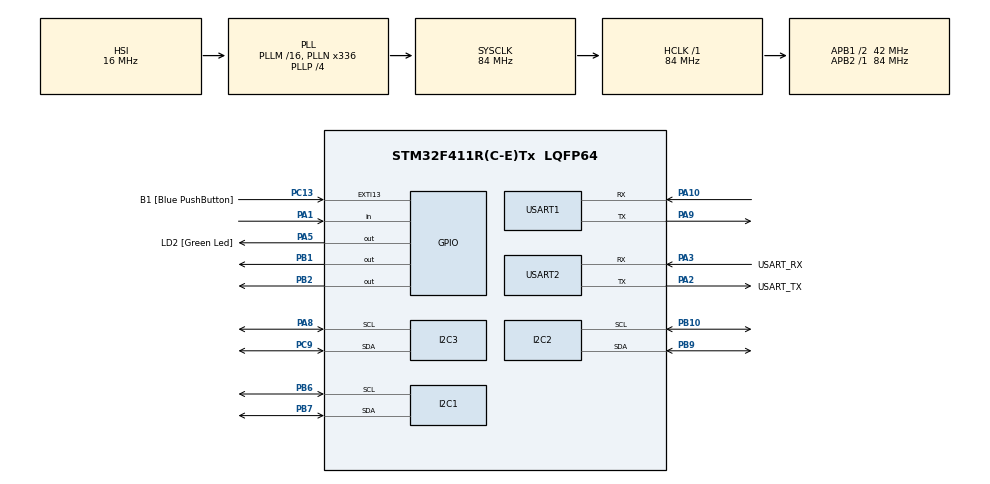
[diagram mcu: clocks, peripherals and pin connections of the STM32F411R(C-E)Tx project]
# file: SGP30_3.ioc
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Mcu.Family=STM32F4
Mcu.Name=STM32F411R(C-E)Tx
Mcu.Package=LQFP64
NVIC.PriorityGroup=NVIC_PRIORITYGROUP_0
PA1.Signal=GPIO_Input
PA10.Mode=Asynchronous
PA10.Signal=USART1_RX
PA13.GPIO_Label=TMS
PA13.Mode=Serial_Wire
PA13.Signal=SYS_JTMS-SWDIO
PA14.GPIO_Label=TCK
PA14.Mode=Serial_Wire
PA14.Signal=SYS_JTCK-SWCLK
PA2.GPIO_Label=USART_TX
PA2.Mode=Asynchronous
PA2.Signal=USART2_TX
PA3.GPIO_Label=USART_RX
PA3.Mode=Asynchronous
PA3.Signal=USART2_RX
PA5.GPIO_Label=LD2 [Green Led]
PA5.Signal=GPIO_Output
PA8.Mode=I2C
PA8.Signal=I2C3_SCL
PA9.Mode=Asynchronous
PA9.Signal=USART1_TX
PB1.Signal=GPIO_Output
PB10.Mode=I2C
PB10.Signal=I2C2_SCL
PB2.Signal=GPIO_Output
PB6.Mode=I2C
PB6.Signal=I2C1_SCL
PB7.Mode=I2C
PB7.Signal=I2C1_SDA
PB9.Mode=I2C
PB9.Signal=I2C2_SDA
PC13-ANTI_TAMP.GPIO_Label=B1 [Blue PushButton]
PC13-ANTI_TAMP.GPIO_ModeDefaultEXTI=GPIO_MODE_IT_FALLING
PC13-ANTI_TAMP.Signal=GPXTI13
PC14-OSC32_IN.Mode=LSE-External-Oscillator
PC14-OSC32_IN.Signal=RCC_OSC32_IN
PC15-OSC32_OUT.Mode=LSE-External-Oscillator
PC15-OSC32_OUT.Signal=RCC_OSC32_OUT
PC9.Mode=I2C
PC9.Signal=I2C3_SDA
PH0\ -\ OSC_IN.Mode=HSE-External-Clock-Source
PH0\ -\ OSC_IN.Signal=RCC_OSC_IN
PH1\ -\ OSC_OUT.Mode=HSE-External-Clock-Source
PH1\ -\ OSC_OUT.Signal=RCC_OSC_OUT
ProjectManager.HeapSize=0x200
ProjectManager.StackSize=0x400
ProjectManager.TargetToolchain=STM32CubeIDE
RCC.48MHZClocksFreq_Value=84000000
RCC.AHBFreq_Value=84000000
RCC.APB1CLKDivider=RCC_HCLK_DIV2
RCC.APB1Freq_Value=42000000
RCC.APB1TimFreq_Value=84000000
RCC.APB2Freq_Value=84000000
RCC.APB2TimFreq_Value=84000000
RCC.CortexFreq_Value=84000000
RCC.FLatency-AdvancedSettings=FLASH_LATENCY_2
RCC.HCLKFreq_Value=84000000
RCC.HSE_VALUE=8000000
RCC.HSI_VALUE=16000000
RCC.PLLN=336
RCC.PLLP=RCC_PLLP_DIV4
RCC.SYSCLKFreq_VALUE=84000000
RCC.SYSCLKSource=RCC_SYSCLKSOURCE_PLLCLK
RCC.VCOOutputFreq_Value=336000000
TIM1.Prescaler=83
USART1.VirtualMode=VM_ASYNC
USART2.VirtualMode=VM_ASYNC
VP_TIM1_VS_ClockSourceINT.Mode=Internal
board=NUCLEO-F411RE

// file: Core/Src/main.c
/* USER CODE BEGIN Header */
/**
  ******************************************************************************
  * @file           : main.c
  * @brief          : SGP30 x3 (3개의 독립 I2C 비트뱅) 테스트
  ******************************************************************************
  * @attention
  *
  * Copyright (c) 2026 STMicroelectronics.
  * All rights reserved.
  *
  * This software is licensed under terms that can be found in the LICENSE file
  * in the root directory of this software component.
  * If no LICENSE file comes with this software, it is provided AS-IS.
  *
  ******************************************************************************  *
  * - SGP30는 I2C 주소가 모두 0x58로 동일
  *  - 한 버스에 여러개 불가 → GPIO I2C 라인을 3세트로 분리해서 각 1개씩 연결
  *
  *  UART2로 출력(PC Serial)
  *
  * 핀맵(사용자 지정)
  *  SGP30 #1 : SCL=PB6,  SDA=PB7
  *  SGP30 #2 : SCL=PB10, SDA=PB8
  *  SGP30 #3 : SCL=PA8,  SDA=PC9
  *
  * CubeMX 주의:
  *  - PB3는 SWO랑 충돌 가능 → SYS->Debug는 Serial Wire만(Trace 끄기)
  ******************************************************************************  ******************************************************************************
  */
/* USER CODE END Header */
#include "main.h"

/* USER CODE BEGIN Includes */
#include "stm32f4xx_hal.h"
#include <stdio.h>
#include <string.h>
#include "sensirion_common.h"
#include "sgp30.h"

/* USER CODE END Includes */

/* USER CODE BEGIN PTD */
typedef struct {
  GPIO_TypeDef* scl_port;
  uint16_t      scl_pin;
  GPIO_TypeDef* sda_port;
  uint16_t      sda_pin;
} SoftI2C;

/* ===== 팬이 켜진 이유 표시용 ===== */
typedef enum {
  FAN_REASON_NONE = 0,
  FAN_REASON_TEMP,
  FAN_REASON_HUM,
  FAN_REASON_FAILSAFE
} FanReason;

/* USER CODE END PTD */

/* USER CODE BEGIN PD */
#ifndef STATUS_OK
#define STATUS_OK 0
#endif

#ifndef STATUS_FAIL
#define STATUS_FAIL (-1)
#endif

/* SGP30 7-bit 주소 */
#define SGP30_ADDR_7BIT  (0x58)

/* I2C 속도(대략) 조절 */
#define I2C_DELAY_US     (5)   // 5us 정도면 대략 100kHz 근처(환경에 따라 다름)
/* USER CODE BEGIN PD */
// [SGP30 주기]
#define SGP_INTERVAL 5000 // 1초

// [DHT11 / Fan 핀 설정 (사용자 코드 그대로)]
#define DHT_PORT        GPIOA
#define DHT_PIN         GPIO_PIN_1

// L9110 B채널 입력핀: B-IA=PB1, B-IB=PB2
#define L9110_BIA_PORT  GPIOB
#define L9110_BIA_PIN   GPIO_PIN_1
#define L9110_BIB_PORT  GPIOB
#define L9110_BIB_PIN   GPIO_PIN_2

/* =========================
 * 임계치(히스테리시스)
 * ========================= */
#define T_ON            30.0f
#define T_OFF           26.0f
#define H_ON            30.0f
#define H_OFF           25.0f

/* =========================
 * 주기 설정
 * ========================= */
#define DHT_INTERVAL_MS 5000    // DHT11 읽기 주기(5초)
/* USER CODE END PD */

I2C_HandleTypeDef hi2c1;
I2C_HandleTypeDef hi2c2;
I2C_HandleTypeDef hi2c3;

TIM_HandleTypeDef htim1;

UART_HandleTypeDef huart1;
UART_HandleTypeDef huart2;

/* USER CODE BEGIN PV */

/* 3개의 버스 */
//static SoftI2C g_i2c1; // PB6/PB7
//static SoftI2C g_i2c2; // PB10/PB3
//static SoftI2C g_i2c3; // PA8/PC9
/* [Fan/DHT 변수 (사용자 코드 그대로)] */
static uint8_t  g_fan_on = 0;
static uint32_t g_last_dht_ms = 0;

static FanReason g_fan_reason = FAN_REASON_NONE;
static uint32_t g_dht_fail_cnt = 0;

/* [SGP30 변수] */
static uint32_t last_sgp_time = 0;
/* USER CODE END PV */

void SystemClock_Config(void);
static void MX_GPIO_Init(void);
static void MX_USART2_UART_Init(void);
static void MX_I2C1_Init(void);
static void MX_USART1_UART_Init(void);
static void MX_I2C3_Init(void);
static void MX_I2C2_Init(void);
static void MX_TIM1_Init(void);
/* USER CODE BEGIN PFP */
extern void i2c_select_bus(uint8_t bus_id);
static void esp_send_line(const char *s);
extern int8_t sensirion_i2c_init(void);

// [DHT/Fan 함수]
static void delay_us(uint16_t us);
static void DHT_Pin_Output(void); // (Note: implemented as set_pin_output locally)
static void DHT_Pin_Input(void);  // (Note: implemented as set_pin_input locally)
static uint8_t DHT11_Read(float *t, float *h); // (Note: implemented as DHT_Read)
static void Fan_Stop(void);
static void Fan_On_ForwardOnly(void);
static void FanControl_Update(float t, float h, uint8_t ok);
static void FanControl_Task(void);
static const char* FanReasonToStr(FanReason r);

/* USER CODE END PFP */

/* USER CODE BEGIN 0 */
// [SGP용 ESP 전송 헬퍼]
static void send_sgp_to_esp(int zone, uint16_t tvoc, uint16_t eco2) {
    char payload[128];
    // Board #2: Zone 1, 2, 3
    sprintf(payload, "{\"type\":\"sgp\",\"zone\":\"zone_%d\",\"tvoc\":%u,\"eco2\":%u}\n",
            zone, tvoc, eco2);
    HAL_UART_Transmit(&huart1, (uint8_t *)payload, strlen(payload), 100);
}

// -------------------- DHT/Fan 구현 (변수명/로직 유지) --------------------
static void delay_us(uint16_t us)
{
	__HAL_TIM_SET_COUNTER(&htim1, 0);            // 타이머1 카운터 0으로 초기화
	while (__HAL_TIM_GET_COUNTER(&htim1) < us);  // us 만큼 대기
}

void set_pin_output(void)
{
    GPIO_InitTypeDef GPIO_InitStruct = {0};
    GPIO_InitStruct.Pin = DHT_PIN;                // DHT 핀
    GPIO_InitStruct.Mode = GPIO_MODE_OUTPUT_OD;   // ✅ 오픈드레인 (안정적)
    GPIO_InitStruct.Speed = GPIO_SPEED_FREQ_LOW;
    GPIO_InitStruct.Pull = GPIO_NOPULL;
    HAL_GPIO_Init(DHT_PORT, &GPIO_InitStruct);
}

void set_pin_input(void)
{
    GPIO_InitTypeDef GPIO_InitStruct = {0};
    GPIO_InitStruct.Pin = DHT_PIN;
    GPIO_InitStruct.Mode = GPIO_MODE_INPUT;
    GPIO_InitStruct.Pull = GPIO_NOPULL;           // 모듈이면 보통 외부 풀업 있음
    HAL_GPIO_Init(DHT_PORT, &GPIO_InitStruct);
}

uint8_t DHT_Read(uint8_t *temp, uint8_t *hum)
{
    uint8_t bits[5] = {0};
    uint32_t time;

    // MCU -> 센서 Start 신호
    set_pin_output();
    HAL_GPIO_WritePin(DHT_PORT, DHT_PIN, GPIO_PIN_RESET);
    HAL_Delay(20);  // 18~20ms
    HAL_GPIO_WritePin(DHT_PORT, DHT_PIN, GPIO_PIN_SET);
    delay_us(40);   // 20~40us
    set_pin_input();

    // 센서 응답 대기
    time = 0;
    while (HAL_GPIO_ReadPin(DHT_PORT, DHT_PIN) == GPIO_PIN_SET) {
        if (++time > 200) return 1;
        delay_us(1);
    }

    // LOW(80us)
    time = 0;
    while (HAL_GPIO_ReadPin(DHT_PORT, DHT_PIN) == GPIO_PIN_RESET) {
        if (++time > 200) return 2;
        delay_us(1);
    }

    // HIGH(80us)
    time = 0;
    while (HAL_GPIO_ReadPin(DHT_PORT, DHT_PIN) == GPIO_PIN_SET) {
        if (++time > 200) return 3;
        delay_us(1);
    }

    // 40bit 수신
    for (int i = 0; i < 40; i++) {
        // LOW 시작(50us) 끝날 때까지 대기
        while (HAL_GPIO_ReadPin(DHT_PORT, DHT_PIN) == GPIO_PIN_RESET);

        // HIGH 중간에서 샘플링
        delay_us(40);
        if (HAL_GPIO_ReadPin(DHT_PORT, DHT_PIN)) {
            bits[i / 8] |= (1 << (7 - (i % 8)));
        }

        // HIGH 끝날 때까지 대기
        while (HAL_GPIO_ReadPin(DHT_PORT, DHT_PIN) == GPIO_PIN_SET);
    }

    // checksum
    uint8_t sum = bits[0] + bits[1] + bits[2] + bits[3];
    if (sum != bits[4]) return 4;

    *hum  = bits[0];
    *temp = bits[2];
    return 0;
}

static void Fan_On_ForwardOnly(void)
{
  HAL_GPIO_WritePin(L9110_BIA_PORT, L9110_BIA_PIN, GPIO_PIN_SET);
  HAL_GPIO_WritePin(L9110_BIB_PORT, L9110_BIB_PIN, GPIO_PIN_RESET);
  g_fan_on = 1;
}

static void Fan_Stop(void)
{
  HAL_GPIO_WritePin(L9110_BIA_PORT, L9110_BIA_PIN, GPIO_PIN_RESET);
  HAL_GPIO_WritePin(L9110_BIB_PORT, L9110_BIB_PIN, GPIO_PIN_RESET);
  g_fan_on = 0;
  g_fan_reason = FAN_REASON_NONE;
}

static void FanControl_Update(float t, float h, uint8_t ok)
{
  if (!ok) {
	if (g_dht_fail_cnt < 255) g_dht_fail_cnt++;

	if (g_dht_fail_cnt >= 3) {
	  if (!g_fan_on) {
		Fan_On_ForwardOnly();
		g_fan_reason = FAN_REASON_FAILSAFE;
	  }
	}
	return; // 실패 시 여기서 끝
  }
  g_dht_fail_cnt = 0; // 성공하면 fail count 리셋

  if (!g_fan_on)
  {
	/* OFF -> ON 조건 */
	if (t >= T_ON) {
	  Fan_On_ForwardOnly();
	  g_fan_reason = FAN_REASON_TEMP;
	}
	else if (h >= H_ON) {
	  Fan_On_ForwardOnly();
	  g_fan_reason = FAN_REASON_HUM;
	}
  }
  else
  {
	/* ON -> OFF 조건 */
	if (t <= T_OFF && h <= H_OFF) {
	  Fan_Stop();
	}
	else {
	  if (g_fan_reason != FAN_REASON_FAILSAFE) {
		if (t >= T_ON)      g_fan_reason = FAN_REASON_TEMP;
		else if (h >= H_ON) g_fan_reason = FAN_REASON_HUM;
	  }
	}
  }
}

static const char* FanReasonToStr(FanReason r)
{
  switch (r) {
    case FAN_REASON_TEMP:     return "TEMP";
    case FAN_REASON_HUM:      return "HUM";
    case FAN_REASON_FAILSAFE: return "FAIL";
    default:                  return "NONE";
  }
}

static void FanControl_Task(void)
{
  uint32_t now = HAL_GetTick();
  if (now - g_last_dht_ms < DHT_INTERVAL_MS) return;
  g_last_dht_ms = now;

  uint8_t temperature = 0, humidity = 0;
  uint8_t status = DHT_Read(&temperature, &humidity);
  uint8_t ok = (status == 0) ? 1 : 0;

  float t = (float)temperature;
  float h = (float)humidity;

  // 임계치 자동 제어
  FanControl_Update(t, h, ok);

  if (ok) {
	printf("[DHT] t=%.1fC h=%.1f%% fan=%s reason=%s\r\n", t, h, (g_fan_on ? "ON" : "OFF"),FanReasonToStr(g_fan_reason));

    // [ESP 전송 (DHT)]
    char json[128];
    const char* reason_str = FanReasonToStr(g_fan_reason);
    const char* fan_str = g_fan_on ? "ON" : "OFF";

    int n = snprintf(json, sizeof(json), "{\"t\":%.0f,\"h\":%.0f,\"fan\":\"%s\",\"reason\":\"%s\"}\n", t, h, fan_str, reason_str);
    HAL_UART_Transmit(&huart1, (uint8_t*)json, n, HAL_MAX_DELAY);
  } else {
	printf("[DHT] read fail cnt=%d fan=%s reason=%s\r\n",g_dht_fail_cnt,(g_fan_on ? "ON" : "OFF"),FanReasonToStr(g_fan_reason));
  }
}
/* USER CODE END 0 */

int main(void)
{

  /* MCU Configuration--------------------------------------------------------*/

  /* Reset of all peripherals, Initializes the Flash interface and the Systick. */
  HAL_Init();

  /* Configure the system clock */
  SystemClock_Config();

  /* Initialize all configured peripherals */
  MX_GPIO_Init();
  MX_USART2_UART_Init();
  MX_I2C1_Init();
  MX_USART1_UART_Init();
  MX_I2C3_Init();
  MX_I2C2_Init();
  MX_TIM1_Init();
  /* USER CODE BEGIN 2 */

  HAL_TIM_Base_Start(&htim1);
  printf("\r\n=== Board #1 Start (DHT/Fan + SGP30) ===\r\n");

  Fan_Stop();
  HAL_Delay(500);
  /* 1. I2C 초기화 (GPIO 클럭 등) */
  sensirion_i2c_init();

  /* 2. 센서 3대 초기화 (Probe & IAQ Init) */
  for(uint8_t i=1; i<=3; i++) {
    printf("Initializing SGP30 #%d ... ", i);

      // 버스 변경 (핵심!)
      i2c_select_bus(i);
      HAL_Delay(100); // 스위칭 안정화

      if (sgp_probe() == STATUS_OK) {
          // 초기화 명령
          if (sgp_iaq_init() == STATUS_OK) {
              printf("OK!\r\n");
          } else {
              printf("Init Fail\r\n");
          }
      } else {
        printf("Not Found (Check Wiring)\r\n");
      }
      HAL_Delay(500);   }

  last_sgp_time = HAL_GetTick();
  /* USER CODE END 2 */

  /* Infinite loop */
  /* USER CODE BEGIN WHILE */
  while (1)
  {
	  /* USER CODE BEGIN 3 */

	  // ==========================================
	  // TASK 1: DHT11 & Fan Control (5초 주기)
	  // ==========================================
	  // (내부 타이머 로직 사용)
	  FanControl_Task();

	  // ==========================================
	  // TASK 2: SGP30 가스 센서 (1초 주기)
	  // ==========================================
	  if (HAL_GetTick() - last_sgp_time >= SGP_INTERVAL) {
		  last_sgp_time = HAL_GetTick();

		  u16 tvoc, eco2;
		  s16 err;

		  // 센서 1,2,3 순차 측정 (Zone 1, 2, 3)
		  for(uint8_t i=1; i<=3; i++) {
			  i2c_select_bus(i);
			  err = sgp_measure_iaq_blocking_read(&tvoc, &eco2);

			  if (err == STATUS_OK) {
				  printf("[SGP #%d] TVOC: %d, eCO2: %d\r\n", i, tvoc, eco2);
				  send_sgp_to_esp(i, tvoc, eco2);
			  }
			  HAL_Delay(20);
		  }
	  }
	  HAL_Delay(10);

    /* USER CODE END WHILE */

  }
}

void SystemClock_Config(void)
{
  RCC_OscInitTypeDef RCC_OscInitStruct = {0};
  RCC_ClkInitTypeDef RCC_ClkInitStruct = {0};

  /** Configure the main internal regulator output voltage
  */
  __HAL_RCC_PWR_CLK_ENABLE();
  __HAL_PWR_VOLTAGESCALING_CONFIG(PWR_REGULATOR_VOLTAGE_SCALE1);

  /** Initializes the RCC Oscillators according to the specified parameters
  * in the RCC_OscInitTypeDef structure.
  */
  RCC_OscInitStruct.OscillatorType = RCC_OSCILLATORTYPE_HSI;
  RCC_OscInitStruct.HSIState = RCC_HSI_ON;
  RCC_OscInitStruct.HSICalibrationValue = RCC_HSICALIBRATION_DEFAULT;
  RCC_OscInitStruct.PLL.PLLState = RCC_PLL_ON;
  RCC_OscInitStruct.PLL.PLLSource = RCC_PLLSOURCE_HSI;
  RCC_OscInitStruct.PLL.PLLM = 16;
  RCC_OscInitStruct.PLL.PLLN = 336;
  RCC_OscInitStruct.PLL.PLLP = RCC_PLLP_DIV4;
  RCC_OscInitStruct.PLL.PLLQ = 4;
  if (HAL_RCC_OscConfig(&RCC_OscInitStruct) != HAL_OK)
  {
    Error_Handler();
  }

  /** Initializes the CPU, AHB and APB buses clocks
  */
  RCC_ClkInitStruct.ClockType = RCC_CLOCKTYPE_HCLK|RCC_CLOCKTYPE_SYSCLK
                              |RCC_CLOCKTYPE_PCLK1|RCC_CLOCKTYPE_PCLK2;
  RCC_ClkInitStruct.SYSCLKSource = RCC_SYSCLKSOURCE_PLLCLK;
  RCC_ClkInitStruct.AHBCLKDivider = RCC_SYSCLK_DIV1;
  RCC_ClkInitStruct.APB1CLKDivider = RCC_HCLK_DIV2;
  RCC_ClkInitStruct.APB2CLKDivider = RCC_HCLK_DIV1;

  if (HAL_RCC_ClockConfig(&RCC_ClkInitStruct, FLASH_LATENCY_2) != HAL_OK)
  {
    Error_Handler();
  }
}

static void MX_I2C1_Init(void)
{

  hi2c1.Instance = I2C1;
  hi2c1.Init.ClockSpeed = 100000;
  hi2c1.Init.DutyCycle = I2C_DUTYCYCLE_2;
  hi2c1.Init.OwnAddress1 = 0;
  hi2c1.Init.AddressingMode = I2C_ADDRESSINGMODE_7BIT;
  hi2c1.Init.DualAddressMode = I2C_DUALADDRESS_DISABLE;
  hi2c1.Init.OwnAddress2 = 0;
  hi2c1.Init.GeneralCallMode = I2C_GENERALCALL_DISABLE;
  hi2c1.Init.NoStretchMode = I2C_NOSTRETCH_DISABLE;
  if (HAL_I2C_Init(&hi2c1) != HAL_OK)
  {
    Error_Handler();
  }

}

static void MX_I2C2_Init(void)
{

  hi2c2.Instance = I2C2;
  hi2c2.Init.ClockSpeed = 100000;
  hi2c2.Init.DutyCycle = I2C_DUTYCYCLE_2;
  hi2c2.Init.OwnAddress1 = 0;
  hi2c2.Init.AddressingMode = I2C_ADDRESSINGMODE_7BIT;
  hi2c2.Init.DualAddressMode = I2C_DUALADDRESS_DISABLE;
  hi2c2.Init.OwnAddress2 = 0;
  hi2c2.Init.GeneralCallMode = I2C_GENERALCALL_DISABLE;
  hi2c2.Init.NoStretchMode = I2C_NOSTRETCH_DISABLE;
  if (HAL_I2C_Init(&hi2c2) != HAL_OK)
  {
    Error_Handler();
  }

}

static void MX_I2C3_Init(void)
{

  hi2c3.Instance = I2C3;
  hi2c3.Init.ClockSpeed = 100000;
  hi2c3.Init.DutyCycle = I2C_DUTYCYCLE_2;
  hi2c3.Init.OwnAddress1 = 0;
  hi2c3.Init.AddressingMode = I2C_ADDRESSINGMODE_7BIT;
  hi2c3.Init.DualAddressMode = I2C_DUALADDRESS_DISABLE;
  hi2c3.Init.OwnAddress2 = 0;
  hi2c3.Init.GeneralCallMode = I2C_GENERALCALL_DISABLE;
  hi2c3.Init.NoStretchMode = I2C_NOSTRETCH_DISABLE;
  if (HAL_I2C_Init(&hi2c3) != HAL_OK)
  {
    Error_Handler();
  }

}

static void MX_TIM1_Init(void)
{

  TIM_ClockConfigTypeDef sClockSourceConfig = {0};
  TIM_MasterConfigTypeDef sMasterConfig = {0};

  htim1.Instance = TIM1;
  htim1.Init.Prescaler = 83;
  htim1.Init.CounterMode = TIM_COUNTERMODE_UP;
  htim1.Init.Period = 65535;
  htim1.Init.ClockDivision = TIM_CLOCKDIVISION_DIV1;
  htim1.Init.RepetitionCounter = 0;
  htim1.Init.AutoReloadPreload = TIM_AUTORELOAD_PRELOAD_DISABLE;
  if (HAL_TIM_Base_Init(&htim1) != HAL_OK)
  {
    Error_Handler();
  }
  sClockSourceConfig.ClockSource = TIM_CLOCKSOURCE_INTERNAL;
  if (HAL_TIM_ConfigClockSource(&htim1, &sClockSourceConfig) != HAL_OK)
  {
    Error_Handler();
  }
  sMasterConfig.MasterOutputTrigger = TIM_TRGO_RESET;
  sMasterConfig.MasterSlaveMode = TIM_MASTERSLAVEMODE_DISABLE;
  if (HAL_TIMEx_MasterConfigSynchronization(&htim1, &sMasterConfig) != HAL_OK)
  {
    Error_Handler();
  }

}

static void MX_USART1_UART_Init(void)
{

  huart1.Instance = USART1;
  huart1.Init.BaudRate = 115200;
  huart1.Init.WordLength = UART_WORDLENGTH_8B;
  huart1.Init.StopBits = UART_STOPBITS_1;
  huart1.Init.Parity = UART_PARITY_NONE;
  huart1.Init.Mode = UART_MODE_TX_RX;
  huart1.Init.HwFlowCtl = UART_HWCONTROL_NONE;
  huart1.Init.OverSampling = UART_OVERSAMPLING_16;
  if (HAL_UART_Init(&huart1) != HAL_OK)
  {
    Error_Handler();
  }

}

static void MX_USART2_UART_Init(void)
{

  huart2.Instance = USART2;
  huart2.Init.BaudRate = 115200;
  huart2.Init.WordLength = UART_WORDLENGTH_8B;
  huart2.Init.StopBits = UART_STOPBITS_1;
  huart2.Init.Parity = UART_PARITY_NONE;
  huart2.Init.Mode = UART_MODE_TX_RX;
  huart2.Init.HwFlowCtl = UART_HWCONTROL_NONE;
  huart2.Init.OverSampling = UART_OVERSAMPLING_16;
  if (HAL_UART_Init(&huart2) != HAL_OK)
  {
    Error_Handler();
  }

}

static void MX_GPIO_Init(void)
{
  GPIO_InitTypeDef GPIO_InitStruct = {0};

  /* GPIO Ports Clock Enable */
  __HAL_RCC_GPIOC_CLK_ENABLE();
  __HAL_RCC_GPIOH_CLK_ENABLE();
  __HAL_RCC_GPIOA_CLK_ENABLE();
  __HAL_RCC_GPIOB_CLK_ENABLE();

  /*Configure GPIO pin Output Level */
  HAL_GPIO_WritePin(LD2_GPIO_Port, LD2_Pin, GPIO_PIN_RESET);

  /*Configure GPIO pin Output Level */
  HAL_GPIO_WritePin(GPIOB, GPIO_PIN_1|GPIO_PIN_2, GPIO_PIN_RESET);

  /*Configure GPIO pin : B1_Pin */
  GPIO_InitStruct.Pin = B1_Pin;
  GPIO_InitStruct.Mode = GPIO_MODE_IT_FALLING;
  GPIO_InitStruct.Pull = GPIO_NOPULL;
  HAL_GPIO_Init(B1_GPIO_Port, &GPIO_InitStruct);

  /*Configure GPIO pin : PA1 */
  GPIO_InitStruct.Pin = GPIO_PIN_1;
  GPIO_InitStruct.Mode = GPIO_MODE_INPUT;
  GPIO_InitStruct.Pull = GPIO_NOPULL;
  HAL_GPIO_Init(GPIOA, &GPIO_InitStruct);

  /*Configure GPIO pin : LD2_Pin */
  GPIO_InitStruct.Pin = LD2_Pin;
  GPIO_InitStruct.Mode = GPIO_MODE_OUTPUT_PP;
  GPIO_InitStruct.Pull = GPIO_NOPULL;
  GPIO_InitStruct.Speed = GPIO_SPEED_FREQ_LOW;
  HAL_GPIO_Init(LD2_GPIO_Port, &GPIO_InitStruct);

  /*Configure GPIO pins : PB1 PB2 */
  GPIO_InitStruct.Pin = GPIO_PIN_1|GPIO_PIN_2;
  GPIO_InitStruct.Mode = GPIO_MODE_OUTPUT_PP;
  GPIO_InitStruct.Pull = GPIO_NOPULL;
  GPIO_InitStruct.Speed = GPIO_SPEED_FREQ_LOW;
  HAL_GPIO_Init(GPIOB, &GPIO_InitStruct);

}

/* USER CODE BEGIN 4 */
/* [추가] printf 출력을 UART2로 보내주는 함수 */
int _write(int file, char *ptr, int len)
{
  HAL_UART_Transmit(&huart2, (uint8_t*)ptr, len, 100);
  return len;
}

static void esp_send_line(const char *s)
{
    HAL_UART_Transmit(&huart1, (uint8_t*)s, strlen(s), 100);
    uint8_t nl = '\n';
    HAL_UART_Transmit(&huart1, &nl, 1, 10);
}
/* USER CODE END 4 */

void Error_Handler(void)
{
  __disable_irq();
  while (1)
  {
  }
}
